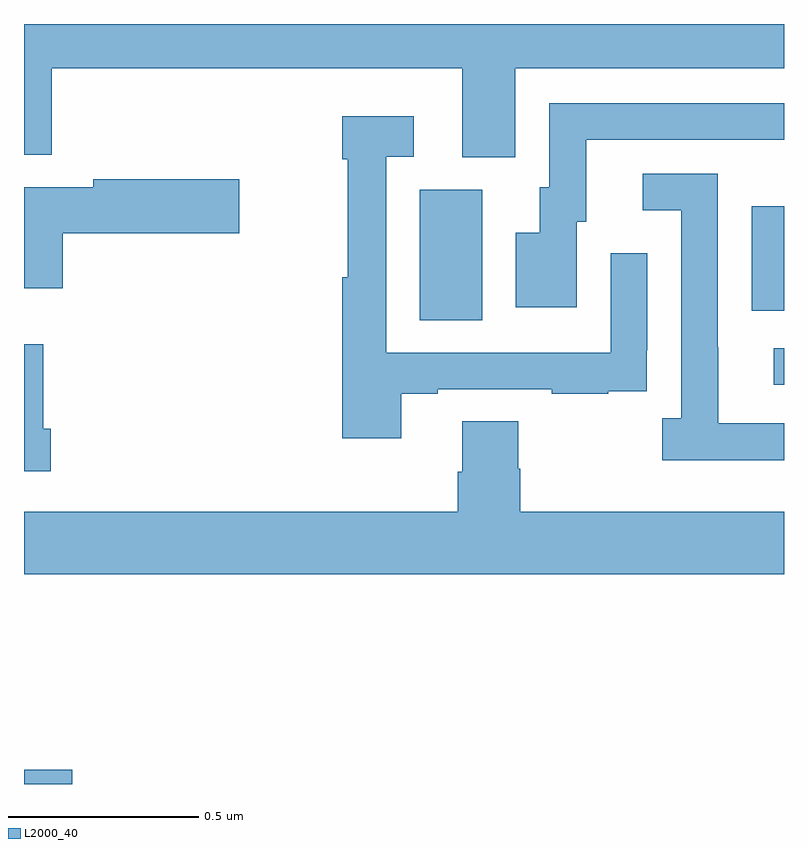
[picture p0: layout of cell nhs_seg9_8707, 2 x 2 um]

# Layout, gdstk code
import gdstk
lib = gdstk.Library(unit=1e-6, precision=1e-09)
def R(c, l, rs):  # rectangles x0, y0, x1, y1
    for r in rs: c.add(gdstk.rectangle(r[:2], r[2:], *l))
def P(c, l, *ps):  # polygons
    for p in ps: c.add(gdstk.Polygon(p, *l))
L2000_40 = (2000, 40)

nhs_seg9_8707 = lib.new_cell('nhs_seg9_8707')
R(nhs_seg9_8707, L2000_40, [(220,1230.5,220.127,1230.538), (221.973,1231.551,222,1231.647), (221.042,1231.72,221.206,1232.064), (221.915,1231.745,222,1232.02)])
P(nhs_seg9_8707, L2000_40, [(221.293,1232.384),(222,1232.384),(222,1232.5),(220,1232.5),(220,1232.156),(220.073,1232.156),(220.073,1232.384),(221.153,1232.384),(221.153,1232.149),(221.293,1232.149)],
  [(221.455,1231.98),(221.479,1231.98),(221.479,1232.196),(222,1232.196),(222,1232.292),(221.382,1232.292),(221.382,1232.07),(221.357,1232.07),(221.357,1231.951),(221.294,1231.951),(221.294,1231.755),(221.455,1231.755)],
  [(220.993,1231.527),(221.089,1231.527),(221.089,1231.539),(221.389,1231.539),(221.389,1231.527),(221.537,1231.527),(221.537,1231.533),(221.639,1231.533),(221.639,1231.642),(221.64,1231.642),(221.64,1231.897),(221.544,1231.897),(221.544,1231.635),(220.953,1231.635),(220.953,1232.151),(221.026,1232.151),(221.026,1232.257),(220.837,1232.257),(220.837,1232.144),(220.852,1232.144),(220.852,1231.833),(220.837,1231.833),(220.837,1231.41),(220.993,1231.41)],
  [(222,1231.449),(221.827,1231.449),(221.827,1231.649),(221.826,1231.649),(221.826,1232.106),(221.628,1232.106),(221.628,1232.01),(221.73,1232.01),(221.73,1231.462),(221.679,1231.462),(221.679,1231.352),(222,1231.352)],
  [(220.102,1231.949),(220.567,1231.949),(220.567,1232.091),(220.182,1232.091),(220.182,1232.071),(220,1232.071),(220,1231.805),(220.102,1231.805)],
  [(220.07,1231.435),(220.05,1231.435),(220.05,1231.657),(220,1231.657),(220,1231.323),(220.07,1231.323)],
  [(222,1231.216),(221.306,1231.216),(221.306,1231.329),(221.301,1231.329),(221.301,1231.454),(221.153,1231.454),(221.153,1231.322),(221.141,1231.322),(221.141,1231.216),(220,1231.216),(220,1231.052),(222,1231.052)])

lib.write_gds('nhs_seg9_8707.gds')
